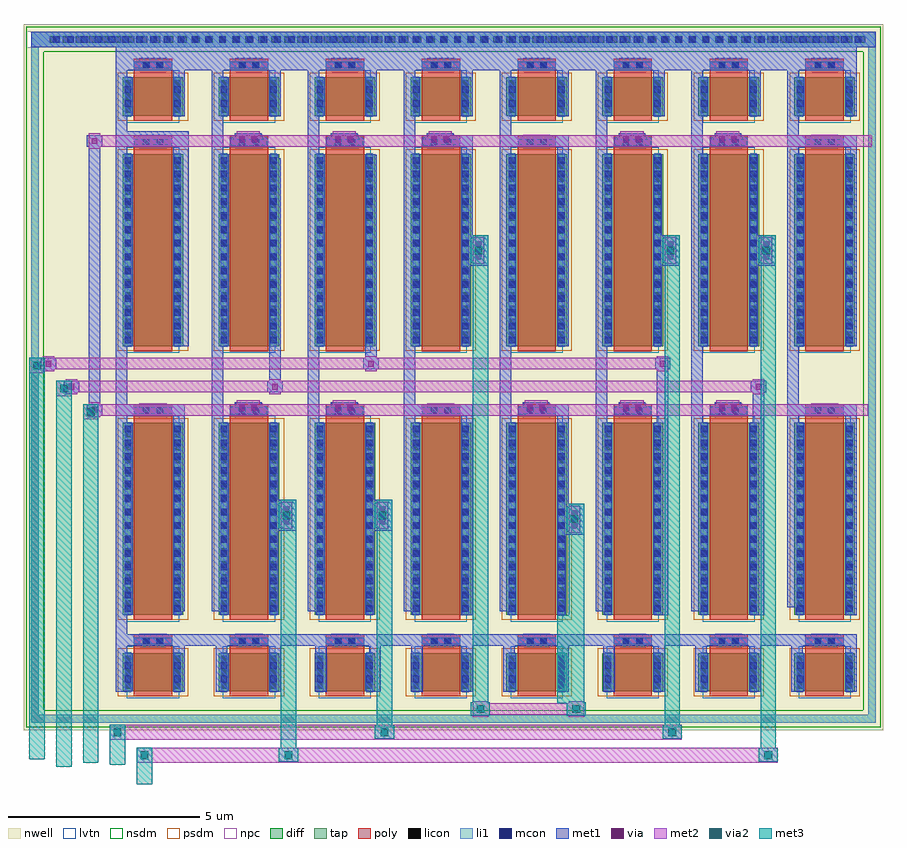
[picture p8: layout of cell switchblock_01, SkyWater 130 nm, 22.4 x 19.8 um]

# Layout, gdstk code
import gdstk
lib = gdstk.Library(unit=1e-6, precision=1e-09)
def R(c, l, rs):  # rectangles x0, y0, x1, y1
    for r in rs: c.add(gdstk.rectangle(r[:2], r[2:], *l))
def A(c, l, x, y, w, h, nx, ny, dx, dy):  # array of equal rectangles
    R(c, l, [(x+i*dx, y+j*dy, x+i*dx+w, y+j*dy+h) for i in range(nx) for j in range(ny)])
nwell = (64, 20)
diff = (65, 20)
tap = (65, 44)
poly = (66, 20)
licon = (66, 44)
li1 = (67, 20)
mcon = (67, 44)
met1 = (68, 20)
via = (68, 44)
met2 = (69, 20)
via2 = (69, 44)
met3 = (70, 20)
nsdm = (93, 44)
psdm = (94, 20)
npc = (95, 20)
lvtn = (125, 44)

sky130_fd_pr__pfet_01v8_ = lib.new_cell('sky130_fd_pr__pfet_01v8_lvt_J8833D')
R(sky130_fd_pr__pfet_01v8_, nwell, [(-0.97,-0.99,0.97,0.82)])
R(sky130_fd_pr__pfet_01v8_, diff, [(-0.79,-0.68,0.79,0.32)])
R(sky130_fd_pr__pfet_01v8_, poly, [(-0.5,-0.81,0.5,0.805)])
A(sky130_fd_pr__pfet_01v8_, licon, -0.73, -0.605, 0.17, 0.17, 1, 3, 0, 0.34)
A(sky130_fd_pr__pfet_01v8_, licon, 0.56, -0.605, 0.17, 0.17, 1, 3, 0, 0.34)
R(sky130_fd_pr__pfet_01v8_, licon, [(-0.255,0.555,-0.085,0.725), (0.085,0.555,0.255,0.725)])
R(sky130_fd_pr__pfet_01v8_, li1, [(-0.73,-0.7,-0.56,0.34), (0.56,-0.7,0.73,0.34), (-0.5,0.555,0.5,0.725)])
R(sky130_fd_pr__pfet_01v8_, mcon, [(-0.73,-0.445,-0.56,-0.275), (0.56,-0.445,0.73,-0.275), (-0.73,-0.085,-0.56,0.085), (0.56,-0.085,0.73,0.085), (-0.265,0.555,-0.095,0.725), (0.095,0.555,0.265,0.725)])
R(sky130_fd_pr__pfet_01v8_, met1, [(-0.76,-0.68,-0.53,0.32), (0.53,-0.68,0.76,0.32), (-0.48,0.525,0.48,0.755)])
R(sky130_fd_pr__pfet_01v8_, psdm, [(-0.915,-0.805,0.915,0.445)])
R(sky130_fd_pr__pfet_01v8_, npc, [(-0.355,0.455,0.355,0.825)])
R(sky130_fd_pr__pfet_01v8_, lvtn, [(-0.68,-0.86,0.68,0.5)])

c_sky130_fd_pr__pfet_01v8_ = lib.new_cell('sky130_fd_pr__pfet_01v8_lvt_U8838H')
R(c_sky130_fd_pr__pfet_01v8_, nwell, [(-0.97,-2.99,0.97,2.82)])
R(c_sky130_fd_pr__pfet_01v8_, diff, [(-0.79,-2.68,0.79,2.32)])
R(c_sky130_fd_pr__pfet_01v8_, poly, [(-0.5,-2.81,0.5,2.805)])
A(c_sky130_fd_pr__pfet_01v8_, licon, -0.73, -2.475, 0.17, 0.17, 1, 14, 0, 0.34)
A(c_sky130_fd_pr__pfet_01v8_, licon, 0.56, -2.475, 0.17, 0.17, 1, 14, 0, 0.34)
R(c_sky130_fd_pr__pfet_01v8_, licon, [(-0.255,2.555,-0.085,2.725), (0.085,2.555,0.255,2.725)])
R(c_sky130_fd_pr__pfet_01v8_, li1, [(-0.73,-2.7,-0.56,2.34), (0.56,-2.7,0.73,2.34), (-0.5,2.555,0.5,2.725)])
A(c_sky130_fd_pr__pfet_01v8_, mcon, -0.73, -2.605, 0.17, 0.17, 1, 14, 0, 0.36)
A(c_sky130_fd_pr__pfet_01v8_, mcon, 0.56, -2.605, 0.17, 0.17, 1, 14, 0, 0.36)
R(c_sky130_fd_pr__pfet_01v8_, mcon, [(-0.265,2.555,-0.095,2.725), (0.095,2.555,0.265,2.725)])
R(c_sky130_fd_pr__pfet_01v8_, met1, [(-0.76,-2.68,-0.53,2.32), (0.53,-2.68,0.76,2.32), (-0.48,2.525,0.48,2.755)])
R(c_sky130_fd_pr__pfet_01v8_, psdm, [(-0.915,-2.805,0.915,2.445)])
R(c_sky130_fd_pr__pfet_01v8_, npc, [(-0.355,2.455,0.355,2.825)])
R(c_sky130_fd_pr__pfet_01v8_, lvtn, [(-0.68,-2.86,0.68,2.5)])

switchblock_01 = lib.new_cell('switchblock_01')
R(switchblock_01, nwell, [(-2.4,-9.7,20,8.1), (-2.4,8.1,-2.3,8.5), (-2.2,8.1,20,8.5), (-2.4,8.5,20,8.7)])
R(switchblock_01, tap, [(-2.2,-9.5,19.8,-9.3), (-2.2,-9.3,-2,8.1), (19.6,-9.3,19.8,8.1), (-2.2,8.1,19.8,8.5)])
A(switchblock_01, licon, -1.725, 8.215, 0.17, 0.17, 63, 1, 0.34, 0)
R(switchblock_01, li1, [(-2.2,-9.5,19.8,-9.3), (-2.2,-9.3,-2,8.1), (19.6,-9.3,19.8,8.1), (-2.2,8.1,19.8,8.5)])
A(switchblock_01, mcon, -1.625, 8.215, 0.17, 0.17, 59, 1, 0.36, 0)
A(switchblock_01, met1, 1.5, 6.3, 0.3, 1.2, 8, 1, 2.5, 0)
R(switchblock_01, met1, [(0,-8.7,0.3,-7.5), (1.5,-8.7,1.8,-7.5), (2.6,-8.7,2.9,-7.5), (4,-8.7,4.3,-7.5), (5.2,-8.7,5.5,-7.5), (6.6,-8.7,6.9,-7.5), (7.7,-8.7,8,-7.5), (9,-8.7,9.3,-7.5), (10.1,-8.7,10.4,-7.5), (11.5,-8.7,11.8,-7.5), (12.7,-8.7,13,-7.5), (14,-8.7,14.3,-7.5), (15.1,-8.7,15.4,-7.5), (16.5,-8.7,16.8,-7.5), (17.6,-8.7,17.9,-7.5), (19,-8.7,19.3,-7.5), (0,-7.5,19.3,-7.2), (0,-7.2,0.3,-1.5), (9,-6.7,9.3,-1.5), (14.1,-6.7,14.4,-0.3), (16.6,-6.7,16.9,-0.9), (19,-6.7,19.3,-1.5), (1.5,-6.6,1.8,-1.5), (2.5,-6.6,2.8,7.5), (5,-6.6,5.3,7.5), (7.5,-6.6,7.8,-1.5), (10,-6.6,10.3,5.5), (12.5,-6.6,12.8,7.5), (15,-6.6,15.3,7.5), (17.5,-6.5,17.8,-1.5), (11.6,-4.6,12.2,-3.9), (4.1,-4.5,4.7,-3.7), (6.6,-4.5,7.2,-3.7), (11.5,-3.9,12.2,-3.8), (11.5,-3.8,11.8,-1.5), (-0.7,-1.55,-0.4,-1.5), (-0.75,-1.5,-0.35,-1.2), (0,-1.5,1.8,-1.2), (7.5,-1.5,9.3,-1.2), (10.7,-1.5,11.8,-1.45), (17.5,-1.5,19.3,-1.2), (3.1,-1.45,3.8,-1.15), (5.6,-1.45,6.3,-1.15), (10.6,-1.45,11.8,-1.2), (13.1,-1.45,13.8,-1.15), (15.6,-1.45,16.3,-1.15), (-0.7,-1.2,-0.4,5.5), (0,-1.2,0.3,2), (7.5,-1.2,7.8,7.5), (10.6,-1.2,11.3,-1.15), (17.5,-1.2,17.8,5.5), (-1.3,-0.95,-1,-0.9), (-1.35,-0.9,-0.95,-0.6), (3.95,-0.9,4.35,-0.6), (16.55,-0.9,16.95,-0.6), (4,-0.6,4.3,5.2), (-1.9,-0.35,-1.6,-0.3), (-1.95,-0.3,-1.55,0), (6.45,-0.3,6.85,0), (14.05,-0.3,14.45,0), (6.5,0,6.8,5.3), (1.5,0.3,1.9,5.5), (11.5,0.3,11.8,5.5), (19,0.3,19.3,5.5), (0,2,0.4,4.8), (9,2.4,9.7,3.2), (14.1,2.4,14.7,3.2), (16.6,2.4,17.2,3.2), (9,3.2,9.3,5.5), (0,4.8,0.3,5.5), (-0.75,5.5,-0.35,5.8), (0,5.5,1.9,5.9), (8.3,5.5,9.3,5.55), (10,5.5,11.8,5.8), (17.5,5.5,19.3,5.8), (3.1,5.55,3.8,5.85), (5.6,5.55,6.3,5.85), (8.1,5.55,9.3,5.8), (13.1,5.55,13.8,5.85), (15.6,5.55,16.3,5.85), (8.1,5.8,8.8,5.85), (10,5.8,10.3,7.5), (17.5,5.8,17.8,7.5), (0,5.9,0.3,7.5), (0,7.5,19.3,8.1), (-2.2,8.1,19.8,8.5)])
R(switchblock_01, via, [(11.875,-4.435,12.025,-4.285), (4.375,-4.335,4.525,-4.185), (6.875,-4.335,7.025,-4.185), (11.875,-4.115,12.025,-3.965), (4.375,-4.015,4.525,-3.865), (6.875,-4.015,7.025,-3.865), (-0.625,-1.425,-0.475,-1.275), (3.215,-1.375,3.365,-1.225), (3.535,-1.375,3.685,-1.225), (5.715,-1.375,5.865,-1.225), (6.035,-1.375,6.185,-1.225), (10.715,-1.375,10.865,-1.225), (11.035,-1.375,11.185,-1.225), (13.215,-1.375,13.365,-1.225), (13.535,-1.375,13.685,-1.225), (15.715,-1.375,15.865,-1.225), (16.035,-1.375,16.185,-1.225), (-1.225,-0.825,-1.075,-0.675), (4.075,-0.825,4.225,-0.675), (16.675,-0.825,16.825,-0.675), (-1.825,-0.225,-1.675,-0.075), (6.575,-0.225,6.725,-0.075), (14.175,-0.225,14.325,-0.075), (9.375,2.565,9.525,2.715), (14.375,2.565,14.525,2.715), (16.875,2.565,17.025,2.715), (9.375,2.885,9.525,3.035), (14.375,2.885,14.525,3.035), (16.875,2.885,17.025,3.035), (-0.625,5.575,-0.475,5.725), (3.215,5.625,3.365,5.775), (3.535,5.625,3.685,5.775), (5.715,5.625,5.865,5.775), (6.035,5.625,6.185,5.775), (8.215,5.625,8.365,5.775), (8.535,5.625,8.685,5.775), (13.215,5.625,13.365,5.775), (13.535,5.625,13.685,5.775), (15.715,5.625,15.865,5.775), (16.035,5.625,16.185,5.775)])
A(switchblock_01, met2, 10.65, -1.2, 0.6, 0.1, 3, 1, 2.5, 0)
A(switchblock_01, met2, 3.15, 5.8, 0.6, 0.1, 3, 1, 2.5, 0)
R(switchblock_01, met2, [(0.55,-10.55,17.25,-10.15), (-0.15,-9.95,14.75,-9.55), (9.3,-9.35,9.7,-9.3), (11.8,-9.35,12.2,-9.3), (9.3,-9.3,12.2,-9), (9.3,-9,9.7,-8.95), (11.8,-9,12.2,-8.95), (11.8,-4.55,12.1,-3.85), (4.3,-4.45,4.6,-3.75), (6.8,-4.45,7.1,-3.75), (-0.85,-1.6,-0.45,-1.55), (-0.85,-1.55,-0.4,-1.5), (-0.85,-1.5,19.6,-1.2), (-0.7,-1.2,-0.4,-1.15), (3.15,-1.2,3.75,-1.1), (5.65,-1.2,6.25,-1.1), (-1.55,-1,-1.15,-0.95), (-1.55,-0.95,-1,-0.9), (4,-0.95,4.3,-0.9), (16.6,-0.95,16.9,-0.9), (-1.55,-0.9,16.9,-0.6), (-1.3,-0.6,-1,-0.55), (4,-0.6,4.3,-0.55), (16.6,-0.6,16.9,-0.55), (-2.25,-0.4,-1.85,-0.35), (-2.25,-0.35,-1.6,-0.3), (6.5,-0.35,6.8,-0.3), (14.1,-0.35,14.4,-0.3), (-2.25,-0.3,14.4,0), (-1.9,0,-1.6,0.05), (6.5,0,6.8,0.05), (14.1,0,14.4,0.05), (9.3,2.45,9.6,3.15), (14.3,2.45,14.6,3.15), (16.8,2.45,17.1,3.15), (-0.7,5.45,-0.4,5.5), (-0.7,5.5,19.7,5.8), (-0.7,5.8,-0.4,5.85), (13.15,5.8,13.75,5.9), (15.65,5.8,16.25,5.9)])
R(switchblock_01, via2, [(0.65,-10.45,0.85,-10.25), (4.4,-10.45,4.6,-10.25), (16.9,-10.45,17.1,-10.25), (-0.05,-9.85,0.15,-9.65), (6.9,-9.85,7.1,-9.65), (14.4,-9.85,14.6,-9.65), (9.4,-9.25,9.6,-9.05), (11.9,-9.25,12.1,-9.05), (11.85,-4.3,12.05,-4.1), (4.35,-4.2,4.55,-4), (6.85,-4.2,7.05,-4), (-0.75,-1.5,-0.55,-1.3), (-1.45,-0.9,-1.25,-0.7), (-2.15,-0.3,-1.95,-0.1), (9.35,2.7,9.55,2.9), (14.35,2.7,14.55,2.9), (16.85,2.7,17.05,2.9)])
R(switchblock_01, met3, [(0.55,-11.1,0.95,-10.15), (-1.55,-10.65,-1.15,-0.6), (-0.15,-10.6,0.25,-9.55), (-0.85,-10.55,-0.45,-1.2), (4.25,-10.525,4.75,-10.175), (16.75,-10.525,17.25,-10.175), (-2.25,-10.45,-1.85,0), (4.3,-10.175,4.7,-4.425), (16.8,-10.175,17.2,2.475), (6.75,-9.925,7.25,-9.575), (14.25,-9.925,14.75,-9.575), (6.8,-9.575,7.2,-4.425), (14.3,-9.575,14.7,2.475), (9.25,-9.325,9.75,-8.975), (11.75,-9.325,12.25,-9), (11.5,-9,12.25,-8.975), (9.3,-8.975,9.7,2.475), (11.5,-8.975,12.2,-6.7), (11.8,-6.7,12.2,-4.525), (11.75,-4.525,12.2,-3.875), (4.25,-4.425,4.7,-3.775), (6.75,-4.425,7.2,-3.775), (11.8,-3.875,12.2,-3.8), (4.3,-3.775,4.7,-3.7), (6.8,-3.775,7.2,-3.7), (9.25,2.475,9.7,3.125), (14.25,2.475,14.7,3.125), (16.75,2.475,17.2,3.125), (9.3,3.125,9.7,3.2), (14.3,3.125,14.7,3.2), (16.8,3.125,17.2,3.2)])
R(switchblock_01, nsdm, [(-2.325,-9.625,19.925,-9.175), (-2.325,-9.175,-1.875,7.975), (19.475,-9.175,19.925,7.975), (-2.325,7.975,19.925,8.625)])
switchblock_01.add(gdstk.Reference(sky130_fd_pr__pfet_01v8_, (0.97,-8.01)))
switchblock_01.add(gdstk.Reference(c_sky130_fd_pr__pfet_01v8_, (0.97,-4.01)))
switchblock_01.add(gdstk.Reference(sky130_fd_pr__pfet_01v8_, (3.47,-8.01)))
switchblock_01.add(gdstk.Reference(c_sky130_fd_pr__pfet_01v8_, (3.47,-4.01)))
switchblock_01.add(gdstk.Reference(sky130_fd_pr__pfet_01v8_, (5.97,-8.01)))
switchblock_01.add(gdstk.Reference(c_sky130_fd_pr__pfet_01v8_, (5.97,-4.01)))
switchblock_01.add(gdstk.Reference(sky130_fd_pr__pfet_01v8_, (8.47,-8.01)))
switchblock_01.add(gdstk.Reference(c_sky130_fd_pr__pfet_01v8_, (8.47,-4.01)))
switchblock_01.add(gdstk.Reference(sky130_fd_pr__pfet_01v8_, (10.97,-8.01)))
switchblock_01.add(gdstk.Reference(c_sky130_fd_pr__pfet_01v8_, (10.97,-4.01)))
switchblock_01.add(gdstk.Reference(sky130_fd_pr__pfet_01v8_, (13.47,-8.01)))
switchblock_01.add(gdstk.Reference(c_sky130_fd_pr__pfet_01v8_, (13.47,-4.01)))
switchblock_01.add(gdstk.Reference(sky130_fd_pr__pfet_01v8_, (15.97,-8.01)))
switchblock_01.add(gdstk.Reference(c_sky130_fd_pr__pfet_01v8_, (15.97,-4.01)))
switchblock_01.add(gdstk.Reference(sky130_fd_pr__pfet_01v8_, (18.47,-8.01)))
switchblock_01.add(gdstk.Reference(c_sky130_fd_pr__pfet_01v8_, (18.47,-4.01)))
switchblock_01.add(gdstk.Reference(c_sky130_fd_pr__pfet_01v8_, (0.97,2.99)))
switchblock_01.add(gdstk.Reference(c_sky130_fd_pr__pfet_01v8_, (3.47,2.99)))
switchblock_01.add(gdstk.Reference(c_sky130_fd_pr__pfet_01v8_, (5.97,2.99)))
switchblock_01.add(gdstk.Reference(c_sky130_fd_pr__pfet_01v8_, (8.47,2.99)))
switchblock_01.add(gdstk.Reference(c_sky130_fd_pr__pfet_01v8_, (10.97,2.99)))
switchblock_01.add(gdstk.Reference(c_sky130_fd_pr__pfet_01v8_, (13.47,2.99)))
switchblock_01.add(gdstk.Reference(c_sky130_fd_pr__pfet_01v8_, (15.97,2.99)))
switchblock_01.add(gdstk.Reference(c_sky130_fd_pr__pfet_01v8_, (18.47,2.99)))
switchblock_01.add(gdstk.Reference(sky130_fd_pr__pfet_01v8_, (0.97,6.99)))
switchblock_01.add(gdstk.Reference(sky130_fd_pr__pfet_01v8_, (3.47,6.99)))
switchblock_01.add(gdstk.Reference(sky130_fd_pr__pfet_01v8_, (5.97,6.99)))
switchblock_01.add(gdstk.Reference(sky130_fd_pr__pfet_01v8_, (8.47,6.99)))
switchblock_01.add(gdstk.Reference(sky130_fd_pr__pfet_01v8_, (10.97,6.99)))
switchblock_01.add(gdstk.Reference(sky130_fd_pr__pfet_01v8_, (13.47,6.99)))
switchblock_01.add(gdstk.Reference(sky130_fd_pr__pfet_01v8_, (15.97,6.99)))
switchblock_01.add(gdstk.Reference(sky130_fd_pr__pfet_01v8_, (18.47,6.99)))

lib.write_gds('switchblock_01.gds')
